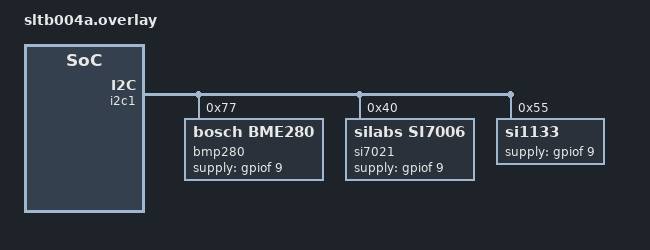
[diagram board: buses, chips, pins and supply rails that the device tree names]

/ {
    aliases {
        test-from-lib = &i2c1;
    };
};

/* This set selects for ENV_I2C according to schematic*/
/* supporting PMP280(pressure), Si7021(Humidity/Temp), Si1133(UV/Light) */
&pinctrl {
	i2c1_env_default: i2c1_env_default {
		group1 {
			psels = <GECKO_PSEL(I2C_SDA, C, 4)>,
				<GECKO_PSEL(I2C_SCL, C, 5)>,
				<GECKO_LOC(I2C_SDA, 17)>,
				<GECKO_LOC(I2C_SCL, 17)>;
		};
	};
};

&i2c1 {
    status = "okay";

    /* Use the pincntrl we configured */
    pinctrl-0 = <&i2c1_env_default>;

    /* Set the pincntrl for default use */
    pinctrl-names = "default";

    /* Disable the ccs811 sensor using I2C1 */
    ccs811: ccs811@5a {
        status = "disabled";
    };

    /* Node for bmp280 -> compatible with bosch_bme280 */
    bmp280: bmp280@77 {
        compatible = "bosch,bme280";
        reg = <0x77>; /* I2C register */
        supply-gpios = <&gpiof 9 GPIO_ACTIVE_HIGH>;
        status = "okay";
    };

    /* Node for si7021 -> compatible with silabs_si7006 */
	si7021: si7021@40 {
		compatible = "silabs,si7006";
		reg = <0x40>; /* I2C register */
		supply-gpios = <&gpiof 9 GPIO_ACTIVE_HIGH>;
        status = "okay";
	};

    /* Node for si1133 -> will need to bitbang */
    si1133: si1133@55 {
        /* comatible =  ...with nobody ...forever alone */
		reg = <0x55>; /* I2C register */
		supply-gpios = <&gpiof 9 GPIO_ACTIVE_HIGH>;
        /* irq-gpios = <&gpiof 11 GPIO_ACTIVE_LOW>; ...might not need */
        status = "okay";
    };
};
